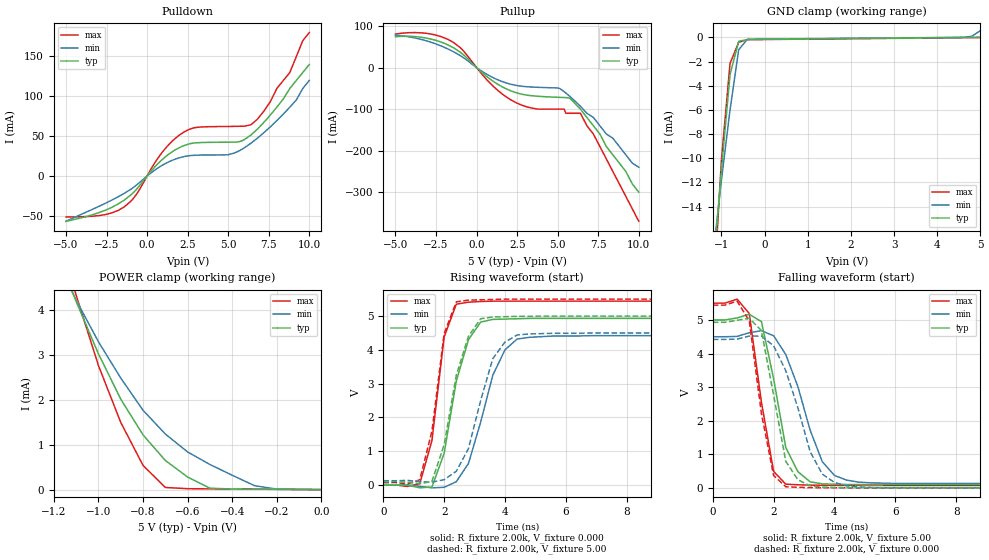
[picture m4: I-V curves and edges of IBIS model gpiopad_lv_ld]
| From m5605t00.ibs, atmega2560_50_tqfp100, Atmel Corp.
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|   Model gpiopad_lv_ld
[Model]   gpiopad_lv_ld
Model_type   I/O
Polarity   Non-Inverting
Enable   Active-High
Vinl =   0.99V
Vinh =   2.31V
Vmeas =   1.65V
Cref =  50.00pF
C_comp   3.55pF   3.54pF   4.31pF
[Temperature Range]   27.00   0.12k   -55.00
[Voltage Range]   5.00V   4.50V   5.50V
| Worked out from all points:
|   slope of the pulldown table from 0 to 0.75 V, typ, clamps not added: 43.7 ohm
|   slope of the pullup table from 0 to 0.75 V, typ, clamps not added: 29.6 ohm
|   GND clamp passes 1 mA (typ) near -0.65 V on its own axis
|   POWER clamp passes 1 mA (typ) near -0.76 V on its own axis
|   rising waveform, R_fixture 2.00k, V_fixture 0.000: 20-80 % time 675ps typ, 873ps min, 469ps max; typ from 0 V to 4.93 V
|   rising waveform, R_fixture 2.00k, V_fixture 5.00: 20-80 % time 710ps typ, 809ps min, 514ps max; typ from 0.095 V to 5 V
|   falling waveform, R_fixture 2.00k, V_fixture 5.00: 20-80 % time 650ps typ, 961ps min, 553ps max; typ from 5 V to 0.095 V
|   falling waveform, R_fixture 2.00k, V_fixture 0.000: 20-80 % time 607ps typ, 942ps min, 554ps max; typ from 4.93 V to 0 V
[Pulldown]
| voltage   I(typ)   I(min)   I(max)
-5V       -56.6mA    -56.6mA    -51.2mA
-2.6V     -42.97mA   -34.27mA   -48.3mA
-1.4V     -29.92mA   -21.49mA   -38.39mA
-700mV    -17.49mA   -11.95mA   -24.03mA
1.1V      23.76mA    15.51mA    34.08mA
2.5V      39.89mA    25.38mA    57.71mA
5V        42.57mA    26.68mA    62.31mA
6.4V      51.53mA    41.26mA    64.37mA
7.2V      67.44mA    54.52mA    81.56mA
8.8V      110mA      86.51mA    130mA
9.6V      130mA      110mA      170mA
10V       140mA      120mA      180mA
[Pullup]
| voltage   I(typ)   I(min)   I(max)
-5V       74.34mA    77.82mA    80.6mA
-3.4V     72.87mA    67.63mA    83.6mA
-1.8V     55.2mA     45.42mA    68.47mA
-900mV    33.69mA    26.09mA    43.83mA
800mV     -26.85mA   -19.87mA   -36.22mA
2.2V      -57.32mA   -40.98mA   -79.65mA
3.5V      -68.2mA    -47.05mA   -98.2mA
5.1V      -71.72mA   -50.03mA   -100mA
5.7V      -73.19mA   -67.8mA    -110mA
6.4V      -100mA     -93.09mA   -110mA
7.2V      -140mA     -120mA     -160mA
10V       -300mA     -240mA     -370mA
[GND_clamp]
| voltage   I(typ)   I(min)   I(max)
-5V       -220mA     -170mA     -290mA
-1.2V     -19.68mA   -18.23mA   -22.48mA
-1V       -10.98mA   -11.83mA   -10.16mA
-800mV    -3.07mA    -5.99mA    -2.15mA
-600mV    -330uA     -1.02mA    -410uA
-400mV    -180uA     -170uA     -190uA
4.6V      -12.94uA   3.41uA     -29.45uA
4.8V      -6.47uA    87.4uA     -22.91uA
5V        56.83pA    560uA      -16.36uA
[POWER_clamp]
| voltage   I(typ)   I(min)   I(max)
-5V       81.86mA    67.08mA    100mA
-1.2V     5.52mA     5.24mA     6.15mA
-1.1V     4.2mA      4.23mA     4.34mA
-1V       3.03mA     3.3mA      2.77mA
-900mV    2.02mA     2.49mA     1.5mA
-800mV    1.22mA     1.77mA     540uA
-700mV    650uA      1.24mA     47.72uA
-600mV    280uA      840uA      20.34uA
-500mV    30.71uA    560uA      16.38uA
-300mV    9.71uA     87.4uA     9.82uA
-200mV    6.47uA     10.59uA    6.55uA
0V        56.83pA    2.16nA     22.2pA
[Ramp]
| variable   typ   min   max
dV/dt_r   2.96/0.56n   2.65/0.79n   3.27/0.40n
dV/dt_f   2.94/0.59n   2.62/0.87n   3.26/0.38n
R_load = 2.00k
[Rising Waveform]
R_fixture = 2.00k
V_fixture = 0.000
V_fixture_min = 0.000
V_fixture_max = 0.000
| time   V(typ)   V(min)   V(max)
0s        0V         710nV      0V
1.2ns     -79.18mV   -36.8mV    43.97mV
1.6ns     -55.15mV   -81.19mV   1.32V
2ns       940mV      -64.61mV   4.38V
2.4ns     3.08V      100mV      5.35V
2.8ns     4.3V       640mV      5.41V
3.2ns     4.82V      1.86V      5.43V
3.6ns     4.9V       3.25V      5.44V
4.4ns     4.92V      4.32V      5.44V
20ns      4.93V      4.42V      5.44V
[Rising Waveform]
R_fixture = 2.00k
V_fixture = 5.00
V_fixture_min = 4.50
V_fixture_max = 5.50
| time   V(typ)   V(min)   V(max)
0s        95.37mV    130mV      72.77mV
1.2ns     40.57mV    100mV      160mV
1.6ns     110mV      89.59mV    1.6V
2ns       1.19V      160mV      4.48V
2.4ns     3.25V      410mV      5.42V
2.8ns     4.4V       1.08V      5.47V
3.2ns     4.92V      2.5V       5.48V
3.6ns     4.97V      3.74V      5.49V
4.4ns     4.99V      4.44V      5.5V
20ns      5V         4.5V       5.5V
[Falling Waveform]
R_fixture = 2.00k
V_fixture = 5.00
V_fixture_min = 4.50
V_fixture_max = 5.50
| time   V(typ)   V(min)   V(max)
0s        5V         4.5V       5.5V
800ps     5.06V      4.51V      5.62V
1.2ns     5.17V      4.62V      5.19V
1.6ns     4.95V      4.68V      2.55V
2ns       3.25V      4.53V      490mV
2.4ns     1.2V       3.97V      110mV
2.8ns     480mV      3.01V      91.11mV
3.6ns     120mV      780mV      76.76mV
4.4ns     100mV      230mV      73.78mV
20ns      95.37mV    130mV      72.78mV
[Falling Waveform]
R_fixture = 2.00k
V_fixture = 0.000
V_fixture_min = 0.000
V_fixture_max = 0.000
| time   V(typ)   V(min)   V(max)
0s        4.93V      4.42V      5.44V
800ps     4.99V      4.43V      5.56V
1.2ns     5.05V      4.52V      4.97V
1.6ns     4.68V      4.52V      2.21V
2ns       2.76V      4.23V      370mV
2.4ns     790mV      3.49V      32.34mV
3.2ns     60.88mV    1.08V      7.5mV
3.6ns     20.98mV    410mV      3.7mV
4.4ns     4.3mV      60.8mV     1.01mV
20ns      -2.65uV    950nV      8.61uV
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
